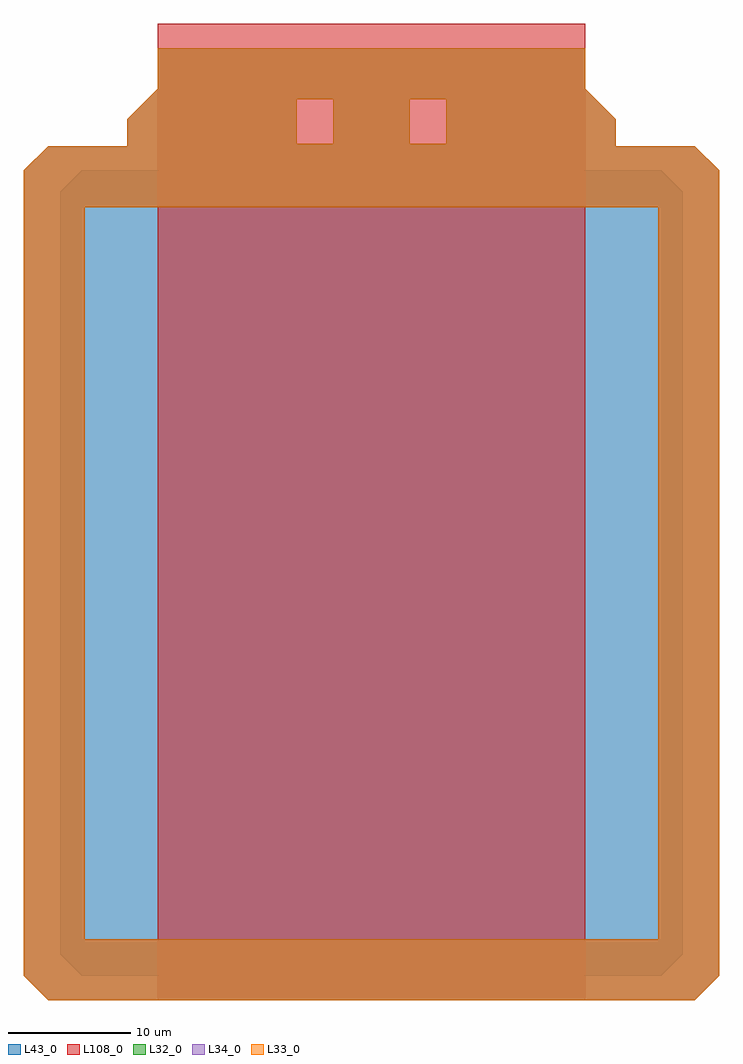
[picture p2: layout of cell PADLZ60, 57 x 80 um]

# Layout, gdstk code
import gdstk
lib = gdstk.Library(unit=1e-6, precision=1e-09)
def R(c, l, rs):  # rectangles x0, y0, x1, y1
    for r in rs: c.add(gdstk.rectangle(r[:2], r[2:], *l))
def P(c, l, *ps):  # polygons
    for p in ps: c.add(gdstk.Polygon(p, *l))
L32_0 = (32, 0)
L33_0 = (33, 0)
L34_0 = (34, 0)
L43_0 = (43, 0)
L108_0 = (108, 0)

padlz60 = lib.new_cell('PADLZ60')
P(padlz60, L32_0, [(54.93,5),(0,5),(0,2),(2,0),(54.93,0)],
  [(5,68),(0,68),(0,2),(2,0),(5,0)],
  [(57,68),(52,68),(52,0),(55,0),(57,2)],
  [(57,68),(55,70),(2,70),(0,68),(0,65),(57,65)],
  [(48.5,68.2),(31.62,68.2),(31.62,70.2),(34.62,70.2),(34.62,73.825),(31.62,73.825),(31.62,68.2),(22.38,68.2),(22.38,70.2),(25.38,70.2),(25.38,73.825),(22.38,73.825),(22.38,68.2),(8.5,68.2),(8.5,72.2),(11,74.7),(11,78),(46,78),(46,74.7),(48.5,72.2)])
P(padlz60, L33_0, [(5,68),(0,68),(0,2),(2,0),(5,0)],
  [(57,68),(52,68),(52,0),(55,0),(57,2)],
  [(57,68),(55,70),(2,70),(0,68),(0,65),(57,65)],
  [(48.5,68.2),(31.62,68.2),(31.62,70.2),(34.62,70.2),(34.62,73.825),(31.62,73.825),(31.62,68.2),(22.38,68.2),(22.38,70.2),(25.38,70.2),(25.38,73.825),(22.38,73.825),(22.38,68.2),(8.5,68.2),(8.5,72.2),(11,74.7),(11,78),(46,78),(46,74.7),(48.5,72.2)])
P(padlz60, L34_0, [(54.93,5),(0,5),(0,2),(2,0),(54.93,0)],
  [(5,68),(0,68),(0,2),(2,0),(5,0)],
  [(57,68),(52,68),(52,0),(55,0),(57,2)],
  [(57,68),(55,70),(2,70),(0,68),(0,65),(57,65)],
  [(48.5,68.2),(31.62,68.2),(31.62,70.2),(34.62,70.2),(34.62,73.825),(31.62,73.825),(31.62,68.2),(22.38,68.2),(22.38,70.2),(25.38,70.2),(25.38,73.825),(22.38,73.825),(22.38,68.2),(8.5,68.2),(8.5,72.2),(11,74.7),(11,78),(46,78),(46,74.7),(48.5,72.2)])
P(padlz60, L43_0, [(4.75,2),(3,3.75),(3,66.25),(4.75,68),(52.25,68),(54,66.25),(54,3.75),(52.25,2)])
R(padlz60, L108_0, [(11,0,46,80)])
padlz60.add(gdstk.FlexPath([(2.5,2.5),(54.93,2.5)], 5, ends="flush", simple_path=True, layer=33, datatype=0))  # L33_0

lib.write_gds('PADLZ60.gds')
